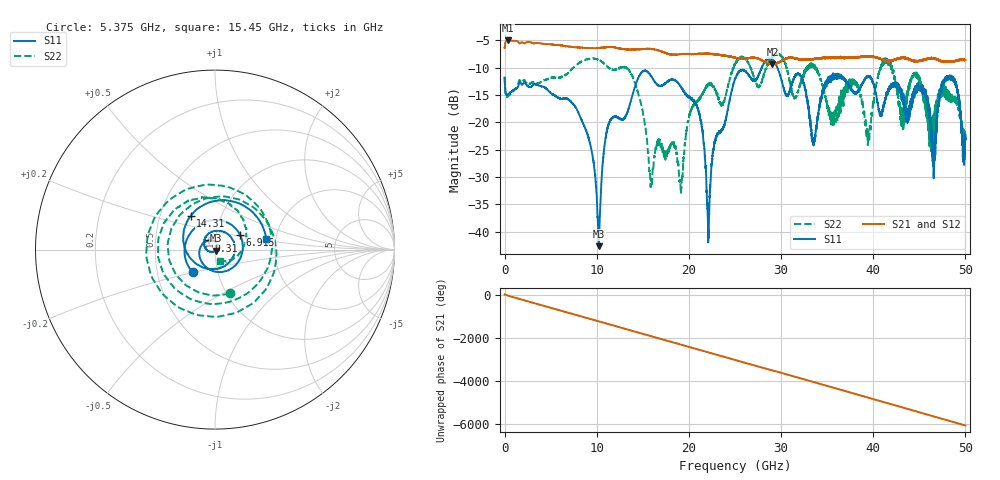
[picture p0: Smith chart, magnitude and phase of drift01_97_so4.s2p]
!Created with skrf (http://scikit-rf.org).
# Hz S RI R 50.0
!freq ReS11 ImS11 ReS21 ImS21 ReS12 ImS12 ReS22 ImS22
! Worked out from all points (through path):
!   10001 points, 300 kHz to 50 GHz, reference 50 ohm
!   highest |S21| = -5.05 dB at 345.3 MHz (marker M1); lowest = -9.4 dB at 29.06 GHz (marker M2)
!   group delay of S21, straight-line fit = 336 ps
!   lowest |S11| = -42.6 dB at 10.23 GHz (marker M3), VSWR 1.01, Z = 50.5 - j0.566 ohm
!   |S11| at or under -10 dB: start of sweep to 27.91 GHz; 29.6 GHz to end of sweep
!   |S22| runs from -32.9 to -7.5 dB; largest |S21 - S12| = 0.015
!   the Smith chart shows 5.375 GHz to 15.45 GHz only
!   S11 on the Smith chart (normalised r, x): 5.375 GHz: 0.76, -0.20; 6.915 GHz: 1.30, +0.22; 9.31 GHz: 0.93, +0.10; 14.31 GHz: 0.71, +0.28; 15.45 GHz: 1.78, +0.23
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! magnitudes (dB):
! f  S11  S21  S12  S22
! 300 kHz  -11.9  -6.4  -6.5  -11.7
! 345.3 MHz  -14.9  -5.1  -5.1  -15.3
! 5.375 GHz  -15.0  -5.9  -5.9  -11.8
! 6.915 GHz  -15.8  -6.1  -6.2  -11.0
! 8.335 GHz  -19.5  -6.4  -6.4  -8.9
! 9.31 GHz  -24.2  -6.4  -6.4  -8.4
! 10.23 GHz  -42.6  -6.4  -6.4  -8.6
! 11.23 GHz  -20.7  -6.3  -6.3  -9.9
! 14.31 GHz  -12.7  -6.7  -6.7  -13.6
! 15.45 GHz  -10.7  -6.6  -6.6  -23.2
! 16.67 GHz  -13.3  -6.9  -6.9  -23.4
! 19.14 GHz  -13.5  -7.5  -7.6  -32.8
! 20.85 GHz  -16.9  -7.6  -7.5  -16.2
! 22.13 GHz  -40.9  -7.5  -7.5  -13.3
! 25 GHz  -12.1  -8.2  -8.2  -9.4
! 29.06 GHz  -8.6  -9.4  -9.4  -8.0
! 33.34 GHz  -23.0  -8.5  -8.5  -9.5
! 39.47 GHz  -11.7  -8.0  -8.0  -22.3
! 41.67 GHz  -13.9  -8.8  -8.7  -8.8
! 46.55 GHz  -27.7  -8.3  -8.3  -20.3
! 48.52 GHz  -11.8  -8.9  -8.9  -15.1
! 50 GHz  -23.0  -8.7  -8.7  -23.0
